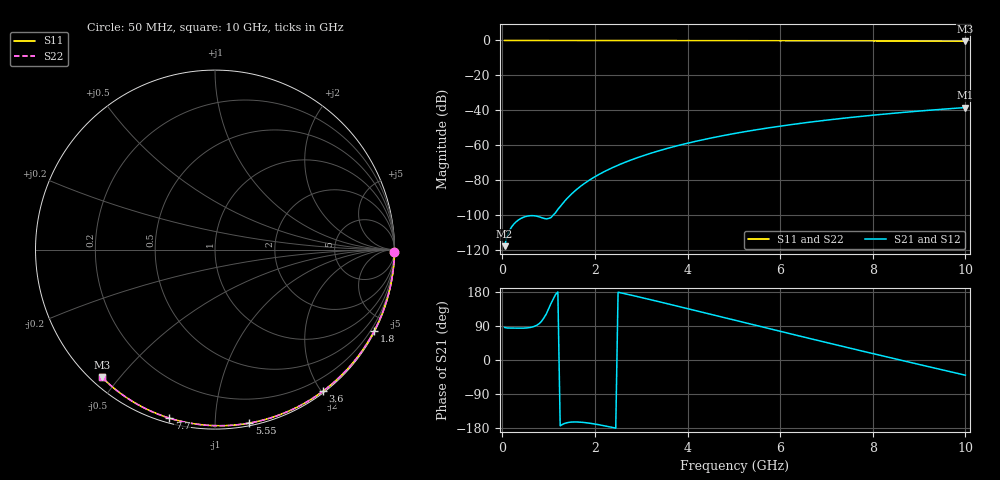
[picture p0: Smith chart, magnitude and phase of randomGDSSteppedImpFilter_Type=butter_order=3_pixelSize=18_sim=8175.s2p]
! freq	dB(S11)	phase(S11)	dB(S12)	phase(S12)
!  dB(S21)	phase(S21)	dB(S22)	phase(S22)
!S-par simulation data
#  GHz  S  DB  R 50
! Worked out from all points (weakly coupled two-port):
!   200 points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, 50 MHz to 10 GHz, reference 50 ohm
!   highest |S21| = -38.41 dB at 10 GHz (marker M1); lowest = -117.8 dB at 50 MHz (marker M2)
!   lowest |S11| = -0.4 dB at 10 GHz (marker M3), VSWR 39.02, Z = 1.54 - j22.5 ohm
!   |S11| at or under -10 dB: nowhere
!   |S22| runs from -0.4 to 0.0 dB; largest |S21 - S12| = 0
!   S11 on the Smith chart (normalised r, x): 50 MHz: open; 1.8 GHz: 0.04, -4.17; 3.6 GHz: 0.02, -2.02; 5.55 GHz: 0.02, -1.22; 7.7 GHz: 0.02, -0.76; 10 GHz: 0.03, -0.45
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0.05  -0.00 -0.8  -117.77 85.9  -117.77 85.9  -0.00 -0.8
0.9  -0.02 -13.6  -101.87 111.4  -101.87 111.4  -0.02 -13.6
1.75  -0.03 -26.2  -82.31 -164.7  -82.31 -164.7  -0.03 -26.2
1.8  -0.03 -27.0  -81.37 -165.4  -81.37 -165.4  -0.03 -27.0
1.85  -0.04 -27.7  -80.48 -166.2  -80.48 -166.2  -0.04 -27.7
1.9  -0.04 -28.4  -79.63 -167.1  -79.63 -167.1  -0.04 -28.4
2.05  -0.04 -30.6  -77.25 -170.1  -77.25 -170.1  -0.04 -30.6
2.25  -0.04 -33.5  -74.45 -174.7  -74.45 -174.7  -0.04 -33.5
2.45  -0.05 -36.4  -71.98 -179.8  -71.98 -179.8  -0.05 -36.4
2.65  -0.05 -39.3  -69.76 174.8  -69.76 174.8  -0.05 -39.3
3  -0.06 -44.3  -66.35 165.0  -66.35 165.0  -0.06 -44.3
3.4  -0.07 -49.9  -63.01 153.4  -63.01 153.4  -0.07 -49.9
3.6  -0.07 -52.7  -61.52 147.5  -61.52 147.5  -0.07 -52.7
4.3  -0.09 -62.3  -57.02 126.6  -57.02 126.6  -0.09 -62.3
5.05  -0.11 -72.3  -53.09 104.1  -53.09 104.1  -0.11 -72.3
5.55  -0.13 -78.8  -50.86 89.1  -50.86 89.1  -0.13 -78.8
6.1  -0.15 -85.7  -48.68 72.7  -48.68 72.7  -0.15 -85.7
6.7  -0.18 -93.2  -46.58 54.9  -46.58 54.9  -0.18 -93.2
7.7  -0.24 -105.2  -43.59 25.6  -43.59 25.6  -0.24 -105.2
8.35  -0.29 -112.8  -41.92 6.9  -41.92 6.9  -0.29 -112.8
9.15  -0.36 -122.0  -40.10 -16.0  -40.10 -16.0  -0.36 -122.0
10  -0.45 -131.6  -38.41 -40.1  -38.41 -40.1  -0.45 -131.6
